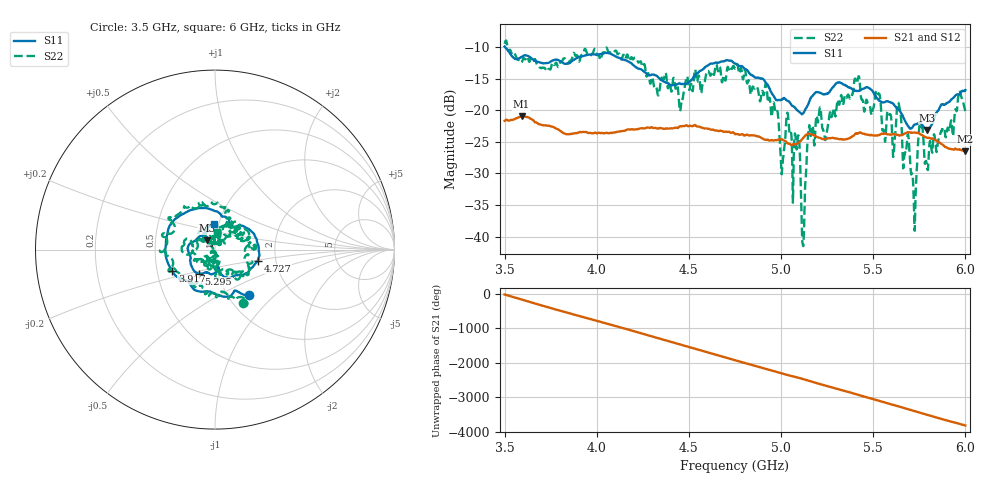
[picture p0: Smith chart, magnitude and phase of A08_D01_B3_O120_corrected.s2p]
! Created with skrf 1.9.0 (http://scikit-rf.org).
# Hz S RI R 50.0
!freq ReS11 ImS11 ReS21 ImS21 ReS12 ImS12 ReS22 ImS22
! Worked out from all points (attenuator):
!   1601 points, 3.5 GHz to 6 GHz, reference 50 ohm
!   highest |S21| = -20.98 dB at 3.592 GHz (marker M1); lowest = -26.5 dB at 6 GHz (marker M2)
!   lowest |S11| = -23.1 dB at 5.794 GHz (marker M3), VSWR 1.15, Z = 45.4 + j4.78 ohm
!   |S11| at or under -10 dB: 3.503 GHz to end of sweep
!   |S22| runs from -41.5 to -8.9 dB; largest |S21 - S12| = 0.0013
!   S11 on the Smith chart (normalised r, x): 3.5 GHz: 1.25, -0.71; 3.917 GHz: 0.60, -0.16; 4.727 GHz: 1.61, -0.21; 5.295 GHz: 0.81, -0.22; 6 GHz: 0.95, +0.28
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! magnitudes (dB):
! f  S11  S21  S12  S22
! 3.5 GHz  -9.9  -21.7  -21.7  -9.5
! 3.592 GHz  -11.5  -21.0  -21.0  -12.4
! 3.917 GHz  -11.5  -23.5  -23.5  -11.2
! 4.334 GHz  -14.8  -22.9  -22.8  -17.6
! 4.727 GHz  -12.1  -23.6  -23.5  -13.7
! 4.75 GHz  -12.6  -23.8  -23.7  -13.4
! 4.969 GHz  -18.2  -24.7  -24.7  -20.2
! 5.006 GHz  -18.3  -24.6  -24.6  -29.1
! 5.036 GHz  -18.5  -25.2  -25.2  -20.4
! 5.088 GHz  -20.0  -25.3  -25.3  -25.4
! 5.119 GHz  -20.5  -24.4  -24.4  -41.4
! 5.145 GHz  -19.2  -23.7  -23.7  -24.1
! 5.167 GHz  -17.8  -23.8  -23.8  -22.8
! 5.295 GHz  -15.8  -24.5  -24.4  -21.0
! 5.412 GHz  -16.9  -23.7  -23.7  -15.5
! 5.584 GHz  -18.6  -23.8  -23.8  -20.4
! 5.612 GHz  -19.1  -23.7  -23.7  -26.3
! 5.641 GHz  -20.0  -24.0  -24.0  -19.3
! 5.72 GHz  -22.4  -23.5  -23.5  -34.4
! 5.756 GHz  -22.0  -23.8  -23.8  -22.9
! 5.794 GHz  -23.1  -24.4  -24.3  -29.3
! 6 GHz  -16.8  -26.5  -26.4  -20.1
